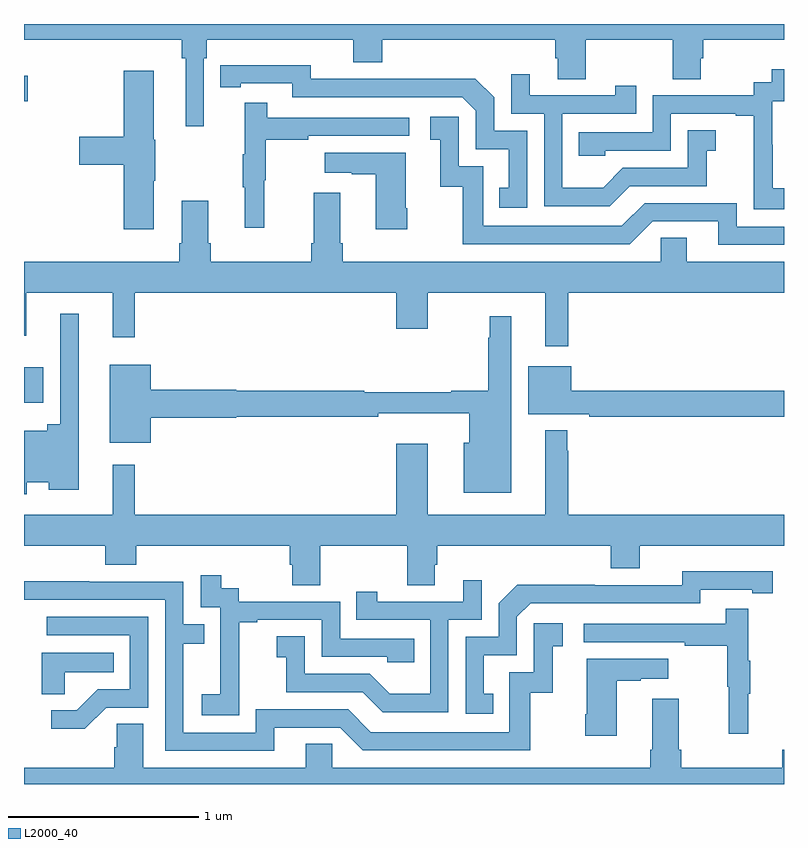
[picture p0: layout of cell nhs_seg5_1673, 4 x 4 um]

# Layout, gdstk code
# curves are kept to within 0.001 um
import gdstk
lib = gdstk.Library(unit=1e-6, precision=1e-09)
def R(c, l, rs):  # rectangles x0, y0, x1, y1
    for r in rs: c.add(gdstk.rectangle(r[:2], r[2:], *l))
def P(c, l, *ps):  # polygons
    for p in ps: c.add(gdstk.Polygon(p, *l))
L2000_40 = (2000, 40)

nhs_seg5_1673 = lib.new_cell('nhs_seg5_1673')
R(nhs_seg5_1673, L2000_40, [(211,898.805,211.102,898.993), (211,900.392,211.021,900.526)])
P(nhs_seg5_1673, L2000_40, [(211.947,900.62),(211.961,900.62),(211.961,900.716),(212.732,900.716),(212.732,900.599),(212.885,900.599),(212.885,900.716),(213.797,900.716),(213.797,900.618),(213.809,900.618),(213.809,900.508),(213.957,900.508),(213.957,900.716),(214.414,900.716),(214.414,900.508),(214.561,900.508),(214.561,900.618),(214.574,900.618),(214.574,900.716),(215,900.716),(215,900.799),(211,900.799),(211,900.716),(211.831,900.716),(211.831,900.62),(211.85,900.62),(211.85,900.261),(211.947,900.261)],
  [(213.648,900.237),(213.474,900.237),(213.474,900.414),(213.376,900.512),(212.968,900.512),(212.968,900.51),(212.508,900.51),(212.508,900.583),(212.032,900.582),(212.032,900.466),(212.14,900.466),(212.14,900.486),(212.412,900.486),(212.412,900.414),(213.306,900.414),(213.378,900.342),(213.378,900.141),(213.551,900.141),(213.551,899.937),(213.502,899.937),(213.502,899.832),(213.648,899.832)],
  [(215,899.935),(214.94,899.935),(214.94,900.164),(214.938,900.164),(214.938,900.393),(215,900.393),(215,900.562),(214.935,900.562),(214.935,900.492),(214.842,900.492),(214.842,900.423),(214.308,900.423),(214.308,900.228),(213.919,900.228),(213.919,900.105),(214.059,900.105),(214.059,900.132),(214.404,900.132),(214.404,900.327),(214.745,900.327),(214.745,900.315),(214.841,900.315),(214.841,900.031),(214.84,900.031),(214.84,899.825),(215,899.825)],
  [(211.684,899.975),(211.692,899.975),(211.692,900.189),(211.684,900.189),(211.684,900.553),(211.526,900.553),(211.526,900.206),(211.29,900.206),(211.29,900.059),(211.526,900.059),(211.526,899.718),(211.684,899.718)],
  [(214.189,899.946),(214.593,899.946),(214.593,900.131),(214.642,900.131),(214.642,900.241),(214.494,900.241),(214.494,900.042),(214.152,900.042),(214.048,899.938),(213.834,899.938),(213.834,900.327),(214.223,900.327),(214.223,900.475),(214.112,900.475),(214.112,900.423),(213.661,900.423),(213.661,900.535),(213.564,900.535),(213.564,900.327),(213.738,900.327),(213.738,899.841),(214.084,899.841)],
  [(212.264,899.976),(212.272,899.976),(212.272,900.19),(212.495,900.19),(212.495,900.21),(213.028,900.21),(213.028,900.306),(212.279,900.306),(212.279,900.385),(212.162,900.385),(212.162,900.113),(212.151,900.113),(212.151,899.939),(212.162,899.939),(212.162,899.727),(212.264,899.727)],
  [(215,899.733),(214.752,899.733),(214.752,899.856),(214.266,899.856),(214.146,899.736),(213.417,899.736),(213.417,900.051),(213.288,900.051),(213.288,900.31),(213.138,900.31),(213.138,900.189),(213.191,900.189),(213.191,899.943),(213.309,899.943),(213.309,899.64),(214.188,899.64),(214.308,899.76),(214.655,899.76),(214.655,899.637),(215,899.637)],
  [(213.018,899.83),(213.01,899.83),(213.01,900.121),(212.583,900.121),(212.583,900.017),(212.726,900.017),(212.726,900.007),(212.852,900.007),(212.852,899.718),(213.018,899.718)],
  [(212.96,899.196),(213.124,899.196),(213.124,899.384),(213.743,899.384),(213.743,899.103),(213.865,899.103),(213.865,899.384),(215,899.384),(215,899.548),(214.489,899.548),(214.489,899.675),(214.35,899.675),(214.35,899.548),(212.678,899.548),(212.678,899.644),(212.665,899.644),(212.665,899.911),(212.525,899.911),(212.525,899.644),(212.513,899.644),(212.513,899.548),(211.982,899.548),(211.982,899.644),(211.969,899.644),(211.969,899.869),(211.829,899.869),(211.829,899.644),(211.817,899.644),(211.817,899.548),(211,899.548),(211,899.159),(211.013,899.159),(211.013,899.384),(211.466,899.384),(211.466,899.151),(211.583,899.151),(211.583,899.384),(212.96,899.384)],
  [(211.014,898.388),(211.13,898.388),(211.13,898.349),(211.288,898.349),(211.288,899.275),(211.191,899.275),(211.191,898.693),(211.123,898.693),(211.123,898.657),(211,898.657),(211,898.323),(211.014,898.323)],
  [(213.565,899.26),(213.451,899.26),(213.451,899.147),(213.444,899.147),(213.444,898.868),(213.248,898.868),(213.248,898.861),(212.792,898.861),(212.792,898.868),(212.118,898.868),(212.118,898.874),(211.666,898.874),(211.666,899.005),(211.451,899.005),(211.451,898.595),(211.666,898.595),(211.666,898.727),(212.118,898.727),(212.118,898.732),(212.864,898.732),(212.864,898.751),(213.344,898.751),(213.344,898.594),(213.314,898.594),(213.314,898.331),(213.565,898.331)],
  [(215,898.868),(213.88,898.868),(213.88,898.999),(213.653,898.999),(213.653,898.745),(213.976,898.745),(213.976,898.732),(215,898.732)],
  [(212.559,898.052),(213.016,898.052),(213.016,897.844),(213.163,897.844),(213.163,897.954),(213.176,897.954),(213.176,898.052),(214.088,898.052),(214.088,897.935),(214.24,897.935),(214.24,898.052),(215,898.052),(215,898.216),(213.865,898.216),(213.865,898.553),(213.858,898.553),(213.858,898.66),(213.743,898.66),(213.743,898.216),(213.124,898.216),(213.124,898.591),(212.96,898.591),(212.96,898.216),(211.583,898.216),(211.583,898.48),(211.466,898.48),(211.466,898.216),(211,898.216),(211,898.052),(211.427,898.052),(211.427,897.953),(211.592,897.953),(211.592,898.052),(212.399,898.052),(212.399,897.954),(212.411,897.954),(212.411,897.844),(212.559,897.844)],
  [(213.47,897.273),(213.421,897.273),(213.421,897.477),(213.594,897.477),(213.594,897.678),(213.666,897.75),(214.56,897.75),(214.56,897.822),(214.832,897.822),(214.832,897.802),(214.94,897.802),(214.94,897.918),(214.464,897.919),(214.464,897.846),(214.004,897.846),(214.004,897.848),(213.596,897.848),(213.498,897.75),(213.498,897.573),(213.324,897.573),(213.324,897.168),(213.47,897.168)],
  [(212.133,897.367),(212.132,897.367),(212.132,897.651),(212.227,897.651),(212.227,897.663),(212.568,897.663),(212.568,897.468),(212.913,897.468),(212.913,897.441),(213.053,897.441),(213.053,897.564),(212.664,897.564),(212.664,897.759),(212.13,897.759),(212.13,897.828),(212.038,897.828),(212.038,897.898),(211.929,897.898),(211.929,897.729),(212.034,897.729),(212.034,897.5),(212.033,897.5),(212.033,897.271),(211.935,897.271),(211.935,897.161),(212.133,897.161)],
  [(213.234,897.663),(213.408,897.663),(213.408,897.871),(213.311,897.871),(213.311,897.759),(212.86,897.759),(212.86,897.811),(212.749,897.811),(212.749,897.663),(213.138,897.663),(213.138,897.274),(212.924,897.274),(212.82,897.378),(212.478,897.378),(212.478,897.577),(212.331,897.577),(212.331,897.467),(212.38,897.467),(212.38,897.282),(212.783,897.282),(212.888,897.177),(213.234,897.177)],
  [(212.317,897.096),(212.664,897.096),(212.784,896.976),(213.664,896.976),(213.664,897.279),(213.782,897.279),(213.782,897.525),(213.835,897.525),(213.835,897.646),(213.684,897.646),(213.684,897.387),(213.555,897.387),(213.555,897.072),(212.826,897.072),(212.706,897.192),(212.22,897.192),(212.22,897.069),(211.839,897.069),(211.839,897.538),(211.949,897.538),(211.949,897.639),(211.839,897.639),(211.839,897.864),(211.343,897.864),(211.343,897.866),(211,897.866),(211,897.768),(211.743,897.768),(211.743,896.973),(212.317,896.973)],
  [(214.811,897.275),(214.822,897.275),(214.822,897.449),(214.811,897.449),(214.811,897.721),(214.693,897.721),(214.693,897.642),(213.945,897.642),(213.945,897.546),(214.477,897.546),(214.477,897.526),(214.701,897.526),(214.701,897.312),(214.708,897.312),(214.708,897.063),(214.811,897.063)],
  [(211.434,897.201),(211.653,897.201),(211.653,897.678),(211.119,897.678),(211.119,897.582),(211.557,897.582),(211.557,897.297),(211.388,897.297),(211.277,897.186),(211.143,897.186),(211.143,897.089),(211.321,897.089)],
  [(211.215,897.386),(211.472,897.386),(211.472,897.49),(211.094,897.49),(211.094,897.271),(211.215,897.271)],
  [(214.12,897.343),(214.247,897.343),(214.247,897.353),(214.39,897.353),(214.39,897.457),(213.962,897.457),(213.962,897.166),(213.955,897.166),(213.955,897.054),(214.12,897.054)],
  [(215,896.98),(214.991,896.98),(214.991,896.884),(214.46,896.884),(214.46,896.98),(214.447,896.98),(214.447,897.247),(214.307,897.247),(214.307,896.98),(214.295,896.98),(214.295,896.884),(212.622,896.884),(212.622,897.011),(212.483,897.011),(212.483,896.884),(211.627,896.884),(211.627,897.116),(211.488,897.116),(211.488,896.993),(211.475,896.993),(211.475,896.884),(211,896.884),(211,896.799),(215,896.799)])

lib.write_gds('nhs_seg5_1673.gds')
